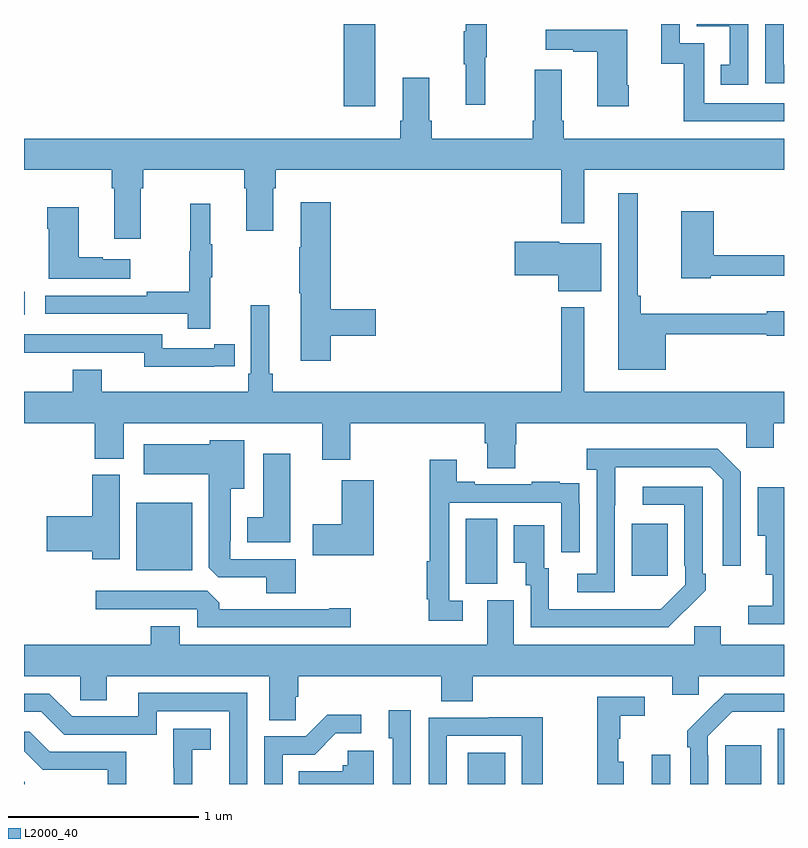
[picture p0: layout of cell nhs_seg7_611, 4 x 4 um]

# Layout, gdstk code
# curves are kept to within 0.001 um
import gdstk
lib = gdstk.Library(unit=1e-6, precision=1e-09)
def R(c, l, rs):  # rectangles x0, y0, x1, y1
    for r in rs: c.add(gdstk.rectangle(r[:2], r[2:], *l))
def P(c, l, *ps):  # polygons
    for p in ps: c.add(gdstk.Polygon(p, *l))
L2000_40 = (2000, 40)

nhs_seg7_611 = lib.new_cell('nhs_seg7_611')
R(nhs_seg7_611, L2000_40, [(157,1048,157.005,1048.011), (159.335,1048,159.532,1048.165), (160.305,1048,160.401,1048.153), (160.691,1048,160.879,1048.204), (160.968,1048,161,1048.29), (159.326,1049.053,159.49,1049.396), (160.199,1049.097,160.387,1049.371), (157.592,1049.126,157.885,1049.479), (157,1050.471,157.003,1050.591), (158.684,1051.566,158.848,1052)])
P(nhs_seg7_611, L2000_40, [(161,1051.786),(160.998,1051.786),(160.998,1052),(160.902,1052),(160.902,1051.689),(161,1051.689)],
  [(161,1051.584),(160.581,1051.584),(160.581,1051.899),(160.452,1051.899),(160.452,1052),(160.355,1052),(160.355,1051.791),(160.473,1051.791),(160.473,1051.488),(161,1051.488)],
  [(160.812,1052),(160.542,1052),(160.542,1051.989),(160.715,1051.989),(160.715,1051.785),(160.666,1051.785),(160.666,1051.68),(160.812,1051.68)],
  [(159.428,1051.824),(159.436,1051.824),(159.436,1052),(159.326,1052),(159.326,1051.961),(159.315,1051.961),(159.315,1051.787),(159.326,1051.787),(159.326,1051.575),(159.428,1051.575)],
  [(160.182,1051.678),(160.174,1051.678),(160.174,1051.969),(159.747,1051.969),(159.747,1051.865),(159.89,1051.865),(159.89,1051.855),(160.016,1051.855),(160.016,1051.566),(160.182,1051.566)],
  [(157.615,1051.136),(157.628,1051.136),(157.628,1051.232),(158.159,1051.232),(158.159,1051.136),(158.171,1051.136),(158.171,1050.912),(158.311,1050.912),(158.311,1051.136),(158.324,1051.136),(158.324,1051.232),(159.828,1051.232),(159.828,1050.951),(159.949,1050.951),(159.949,1051.232),(161,1051.232),(161,1051.396),(159.842,1051.396),(159.842,1051.492),(159.829,1051.492),(159.829,1051.759),(159.689,1051.759),(159.689,1051.492),(159.677,1051.492),(159.677,1051.396),(159.146,1051.396),(159.146,1051.492),(159.133,1051.492),(159.133,1051.717),(158.993,1051.717),(158.993,1051.492),(158.981,1051.492),(158.981,1051.396),(157,1051.396),(157,1051.232),(157.463,1051.232),(157.463,1051.136),(157.475,1051.136),(157.475,1050.87),(157.615,1050.87)],
  [(160.378,1050.366),(160.908,1050.366),(160.908,1050.358),(161,1050.358),(161,1050.487),(160.908,1050.487),(160.908,1050.476),(160.246,1050.476),(160.246,1050.571),(160.231,1050.571),(160.231,1051.108),(160.127,1051.108),(160.127,1050.179),(160.378,1050.179)],
  [(158.615,1050.358),(158.851,1050.358),(158.851,1050.5),(158.615,1050.5),(158.615,1051.063),(158.456,1051.063),(158.456,1050.824),(158.449,1050.824),(158.449,1050.583),(158.456,1050.583),(158.456,1050.228),(158.615,1050.228)],
  [(157.979,1050.667),(157.99,1050.667),(157.99,1050.841),(157.979,1050.841),(157.979,1051.054),(157.876,1051.054),(157.876,1050.804),(157.869,1050.804),(157.869,1050.59),(157.645,1050.59),(157.645,1050.57),(157.113,1050.57),(157.113,1050.474),(157.861,1050.474),(157.861,1050.396),(157.979,1050.396)],
  [(157.558,1050.763),(157.415,1050.763),(157.415,1050.773),(157.288,1050.773),(157.288,1051.036),(157.123,1051.036),(157.123,1050.923),(157.13,1050.923),(157.13,1050.659),(157.558,1050.659)],
  [(160.614,1050.674),(161,1050.674),(161,1050.784),(160.631,1050.784),(160.631,1051.015),(160.46,1051.015),(160.46,1050.662),(160.614,1050.662)],
  [(160.039,1050.847),(159.816,1050.847),(159.816,1050.855),(159.582,1050.855),(159.582,1050.677),(159.812,1050.677),(159.812,1050.593),(160.039,1050.593)],
  [(159.585,1049.787),(159.59,1049.787),(159.59,1049.9),(160.8,1049.9),(160.8,1049.769),(160.947,1049.769),(160.947,1049.9),(161,1049.9),(161,1050.064),(159.949,1050.064),(159.949,1050.508),(159.828,1050.508),(159.828,1050.064),(158.309,1050.064),(158.309,1050.16),(158.29,1050.16),(158.29,1050.52),(158.193,1050.52),(158.193,1050.16),(158.18,1050.16),(158.18,1050.064),(157.408,1050.064),(157.408,1050.181),(157.256,1050.181),(157.256,1050.064),(157,1050.064),(157,1049.9),(157.373,1049.9),(157.373,1049.713),(157.525,1049.713),(157.525,1049.9),(158.57,1049.9),(158.57,1049.706),(158.718,1049.706),(158.718,1049.9),(159.425,1049.9),(159.425,1049.794),(159.437,1049.794),(159.437,1049.662),(159.585,1049.662)],
  [(158,1050.198),(158.108,1050.198),(158.108,1050.314),(158,1050.314),(158,1050.294),(157.728,1050.294),(157.728,1050.366),(157,1050.366),(157,1050.269),(157.172,1050.269),(157.172,1050.27),(157.632,1050.27),(157.632,1050.197),(158,1050.197)],
  [(158.429,1049.184),(158.085,1049.184),(158.085,1049.281),(158.089,1049.281),(158.089,1049.555),(158.158,1049.555),(158.158,1049.809),(157.977,1049.809),(157.977,1049.788),(157.629,1049.788),(157.629,1049.63),(157.973,1049.63),(157.973,1049.137),(158.022,1049.088),(158.276,1049.088),(158.276,1049.005),(158.429,1049.005)],
  [(160.11,1049.467),(160.111,1049.667),(160.611,1049.667),(160.677,1049.601),(160.677,1049.148),(160.773,1049.148),(160.773,1049.643),(160.652,1049.764),(159.963,1049.764),(159.963,1049.654),(160.014,1049.654),(160.014,1049.106),(159.912,1049.106),(159.912,1049.01),(160.11,1049.01)],
  [(158.401,1049.737),(158.258,1049.737),(158.258,1049.404),(158.174,1049.404),(158.174,1049.273),(158.401,1049.273)],
  [(159.31,1048.965),(159.237,1048.965),(159.237,1049.481),(159.828,1049.481),(159.828,1049.22),(159.924,1049.22),(159.924,1049.474),(159.923,1049.474),(159.923,1049.583),(159.821,1049.583),(159.821,1049.59),(159.673,1049.59),(159.673,1049.577),(159.373,1049.577),(159.373,1049.59),(159.277,1049.59),(159.277,1049.707),(159.136,1049.707),(159.136,1049.172),(159.121,1049.172),(159.121,1048.972),(159.129,1048.972),(159.129,1048.86),(159.31,1048.86)],
  [(157.504,1049.628),(157.358,1049.628),(157.358,1049.408),(157.119,1049.408),(157.119,1049.225),(157.358,1049.225),(157.358,1049.184),(157.504,1049.184)],
  [(158.842,1049.599),(158.672,1049.599),(158.672,1049.367),(158.52,1049.367),(158.52,1049.204),(158.842,1049.204)],
  [(160.481,1048.915),(160.482,1048.914),(160.587,1049.019),(160.587,1049.107),(160.572,1049.107),(160.572,1049.565),(160.257,1049.565),(160.257,1049.469),(160.476,1049.469),(160.476,1049.149),(160.479,1049.149),(160.479,1049.049),(160.351,1048.921),(159.763,1048.92),(159.763,1049.136),(159.739,1049.136),(159.739,1049.362),(159.578,1049.362),(159.578,1049.165),(159.641,1049.165),(159.641,1049.046),(159.666,1049.046),(159.666,1048.824),(160.39,1048.824)],
  [(161,1049.563),(160.862,1049.563),(160.862,1049.306),(160.904,1049.306),(160.904,1049.102),(160.941,1049.102),(160.941,1048.939),(160.812,1048.939),(160.812,1048.842),(161,1048.842)],
  [(158.719,1048.925),(158.606,1048.925),(158.606,1048.92),(158.027,1048.92),(158.027,1048.954),(157.965,1049.016),(157.377,1049.016),(157.377,1048.92),(157.911,1048.92),(157.911,1048.824),(158.719,1048.824)],
  [(158.43,1048.459),(158.444,1048.459),(158.444,1048.568),(159.197,1048.568),(159.197,1048.435),(159.362,1048.435),(159.362,1048.568),(160.412,1048.568),(160.412,1048.47),(160.551,1048.47),(160.551,1048.568),(161,1048.568),(161,1048.732),(160.666,1048.732),(160.666,1048.83),(160.527,1048.83),(160.527,1048.732),(159.577,1048.732),(159.577,1048.968),(159.437,1048.968),(159.437,1048.732),(157.819,1048.732),(157.819,1048.831),(157.667,1048.831),(157.667,1048.732),(157,1048.732),(157,1048.568),(157.296,1048.568),(157.296,1048.441),(157.435,1048.441),(157.435,1048.568),(158.291,1048.568),(158.291,1048.336),(158.43,1048.336)],
  [(158.175,1048.479),(157.601,1048.479),(157.601,1048.356),(157.254,1048.356),(157.134,1048.476),(157,1048.476),(157,1048.38),(157.092,1048.38),(157.212,1048.26),(157.698,1048.26),(157.698,1048.383),(158.079,1048.383),(158.079,1048),(158.175,1048)],
  [(160.602,1048.151),(160.599,1048.151),(160.599,1048.251),(160.728,1048.38),(161,1048.38),(161,1048.476),(160.688,1048.476),(160.491,1048.281),(160.491,1048.193),(160.506,1048.193),(160.506,1048),(160.602,1048)],
  [(160.156,1048.117),(160.127,1048.117),(160.127,1048.239),(160.138,1048.239),(160.138,1048.36),(160.267,1048.36),(160.267,1048.458),(160.017,1048.458),(160.017,1048),(160.156,1048)],
  [(159.036,1048.387),(158.921,1048.387),(158.921,1048.242),(158.94,1048.242),(158.94,1048),(159.036,1048)],
  [(158.361,1048.155),(158.53,1048.155),(158.641,1048.266),(158.776,1048.266),(158.776,1048.364),(158.597,1048.364),(158.484,1048.251),(158.265,1048.251),(158.265,1048),(158.361,1048)],
  [(159.225,1048.254),(159.621,1048.254),(159.621,1048),(159.73,1048),(159.73,1048.352),(159.445,1048.352),(159.445,1048.35),(159.129,1048.35),(159.129,1048),(159.225,1048)],
  [(157.886,1048.181),(157.984,1048.181),(157.984,1048.291),(157.786,1048.291),(157.786,1048.085),(157.787,1048.085),(157.787,1048),(157.886,1048)],
  [(157.539,1048.17),(157.135,1048.17),(157.03,1048.275),(157,1048.275),(157,1048.172),(157.098,1048.074),(157.44,1048.074),(157.44,1048),(157.539,1048)],
  [(158.842,1048.174),(158.703,1048.174),(158.703,1048.098),(158.677,1048.098),(158.677,1048.066),(158.446,1048.066),(158.446,1048),(158.842,1048)])

lib.write_gds('nhs_seg7_611.gds')
